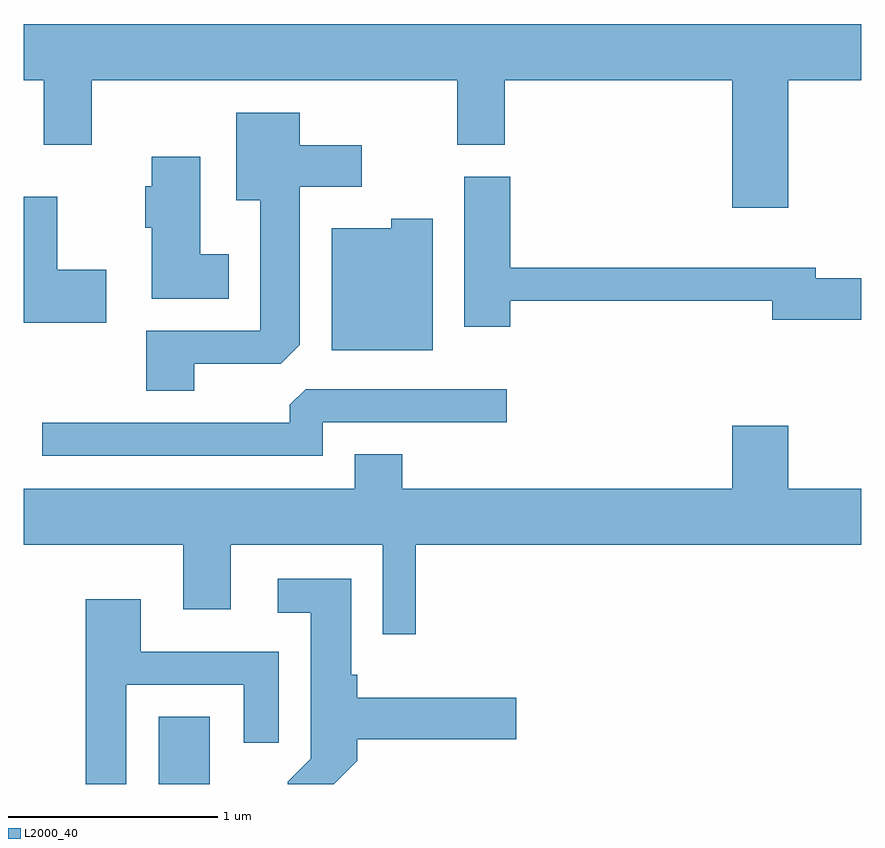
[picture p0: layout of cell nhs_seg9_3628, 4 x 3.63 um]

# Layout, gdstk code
import gdstk
lib = gdstk.Library(unit=1e-6, precision=1e-09)
def R(c, l, rs):  # rectangles x0, y0, x1, y1
    for r in rs: c.add(gdstk.rectangle(r[:2], r[2:], *l))
def P(c, l, *ps):  # polygons
    for p in ps: c.add(gdstk.Polygon(p, *l))
L2000_40 = (2000, 40)

nhs_seg9_3628 = lib.new_cell('nhs_seg9_3628')
R(nhs_seg9_3628, L2000_40, [(292.256,2008.432,292.499,2008.754)])
P(nhs_seg9_3628, L2000_40, [(295.264,2011.796),(295.611,2011.796),(295.611,2012.064),(291.611,2012.064),(291.611,2011.796),(291.706,2011.796),(291.706,2011.486),(291.934,2011.486),(291.934,2011.796),(293.681,2011.796),(293.681,2011.486),(293.909,2011.486),(293.909,2011.796),(294.996,2011.796),(294.996,2011.186),(295.264,2011.186)],
  [(292.424,2010.441),(292.839,2010.441),(292.929,2010.532),(292.929,2011.286),(293.224,2011.286),(293.224,2011.484),(292.929,2011.484),(292.929,2011.639),(292.626,2011.639),(292.626,2011.221),(292.741,2011.221),(292.741,2010.599),(292.196,2010.599),(292.196,2010.311),(292.424,2010.311)],
  [(292.589,2010.964),(292.454,2010.964),(292.454,2011.429),(292.221,2011.429),(292.221,2011.289),(292.191,2011.289),(292.191,2011.091),(292.221,2011.091),(292.221,2010.751),(292.589,2010.751)],
  [(293.934,2010.741),(295.186,2010.741),(295.186,2010.651),(295.611,2010.651),(295.611,2010.849),(295.394,2010.849),(295.394,2010.899),(293.934,2010.899),(293.934,2011.334),(293.716,2011.334),(293.716,2010.616),(293.934,2010.616)],
  [(292.004,2010.889),(291.769,2010.889),(291.769,2011.239),(291.611,2011.239),(291.611,2010.636),(292.004,2010.636)],
  [(293.564,2011.134),(293.366,2011.134),(293.366,2011.089),(293.081,2011.089),(293.081,2010.506),(293.564,2010.506)],
  [(293.039,2010.161),(293.918,2010.161),(293.918,2010.319),(292.957,2010.319),(292.881,2010.244),(292.881,2010.159),(291.698,2010.159),(291.698,2010.001),(293.039,2010.001)],
  [(293.484,2009.576),(295.611,2009.576),(295.611,2009.844),(295.264,2009.844),(295.264,2010.144),(294.996,2010.144),(294.996,2009.844),(293.419,2009.844),(293.419,2010.009),(293.191,2010.009),(293.191,2009.844),(291.611,2009.844),(291.611,2009.576),(292.371,2009.576),(292.371,2009.266),(292.599,2009.266),(292.599,2009.576),(293.326,2009.576),(293.326,2009.148),(293.484,2009.148)],
  [(293.204,2008.544),(293.204,2008.646),(293.964,2008.646),(293.964,2008.844),(293.204,2008.844),(293.204,2008.954),(293.174,2008.954),(293.174,2009.414),(292.823,2009.414),(292.823,2009.251),(292.981,2009.251),(292.981,2008.552),(292.871,2008.442),(292.871,2008.432),(293.092,2008.432)],
  [(292.099,2008.906),(292.661,2008.906),(292.661,2008.628),(292.829,2008.628),(292.829,2009.064),(292.169,2009.064),(292.169,2009.314),(291.906,2009.314),(291.906,2008.432),(292.099,2008.432)])

lib.write_gds('nhs_seg9_3628.gds')
